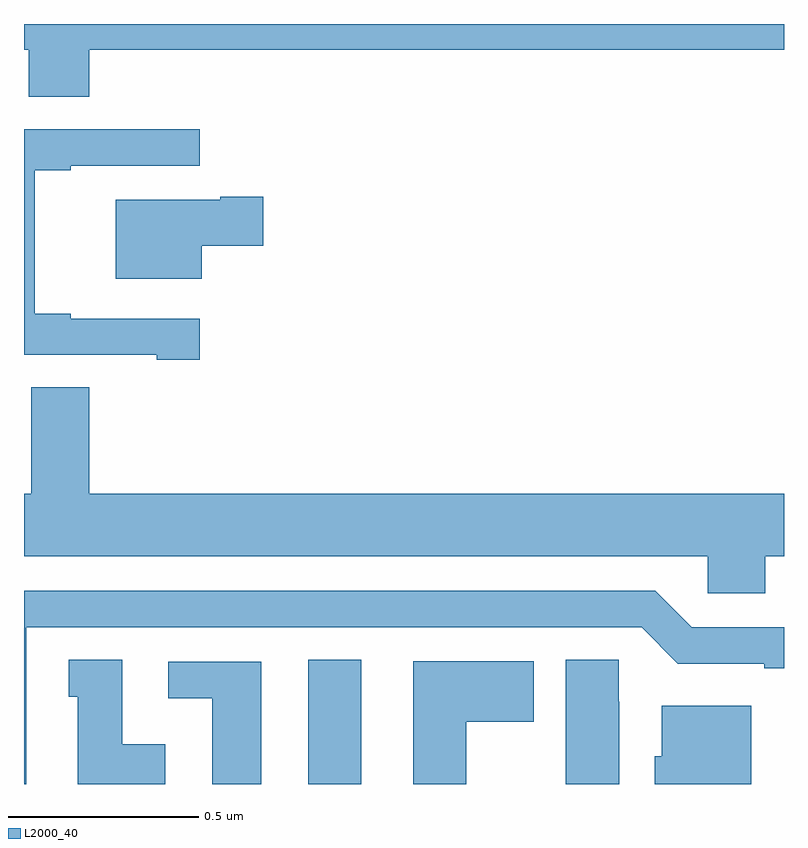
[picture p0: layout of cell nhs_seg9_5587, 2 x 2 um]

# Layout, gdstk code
import gdstk
lib = gdstk.Library(unit=1e-6, precision=1e-09)
def R(c, l, rs):  # rectangles x0, y0, x1, y1
    for r in rs: c.add(gdstk.rectangle(r[:2], r[2:], *l))
def P(c, l, *ps):  # polygons
    for p in ps: c.add(gdstk.Polygon(p, *l))
L2000_40 = (2000, 40)

nhs_seg9_5587 = lib.new_cell('nhs_seg9_5587')
R(nhs_seg9_5587, L2000_40, [(181.748,1182.5,181.888,1182.827)])
P(nhs_seg9_5587, L2000_40, [(181.172,1184.432),(183,1184.432),(183,1184.5),(181,1184.5),(181,1184.432),(181.012,1184.432),(181.012,1184.308),(181.172,1184.308)],
  [(181.462,1183.725),(181.123,1183.725),(181.123,1183.738),(181.028,1183.738),(181.028,1184.115),(181.123,1184.115),(181.123,1184.127),(181.462,1184.127),(181.462,1184.223),(181,1184.223),(181,1183.629),(181.349,1183.629),(181.349,1183.617),(181.462,1183.617)],
  [(181.468,1183.916),(181.63,1183.916),(181.63,1184.046),(181.517,1184.046),(181.517,1184.038),(181.241,1184.038),(181.241,1183.829),(181.468,1183.829)],
  [(182.951,1183.1),(183,1183.1),(183,1183.264),(181.172,1183.264),(181.172,1183.544),(181.019,1183.544),(181.019,1183.264),(181,1183.264),(181,1183.1),(182.799,1183.1),(182.799,1183.002),(182.951,1183.002)],
  [(181.006,1182.912),(182.625,1182.912),(182.721,1182.816),(182.948,1182.816),(182.948,1182.804),(183,1182.804),(183,1182.912),(182.757,1182.912),(182.661,1183.008),(181,1183.008),(181,1182.5),(181.006,1182.5)],
  [(182.566,1182.716),(182.565,1182.716),(182.565,1182.827),(182.426,1182.827),(182.426,1182.5),(182.566,1182.5)],
  [(181.372,1182.604),(181.258,1182.604),(181.258,1182.827),(181.118,1182.827),(181.118,1182.729),(181.142,1182.729),(181.142,1182.5),(181.372,1182.5)],
  [(182.164,1182.664),(182.341,1182.664),(182.341,1182.823),(182.024,1182.823),(182.024,1182.5),(182.164,1182.5)],
  [(181.624,1182.822),(181.38,1182.822),(181.38,1182.726),(181.496,1182.726),(181.496,1182.5),(181.624,1182.5)],
  [(182.914,1182.706),(182.678,1182.706),(182.678,1182.573),(182.66,1182.573),(182.66,1182.5),(182.914,1182.5)])

lib.write_gds('nhs_seg9_5587.gds')
